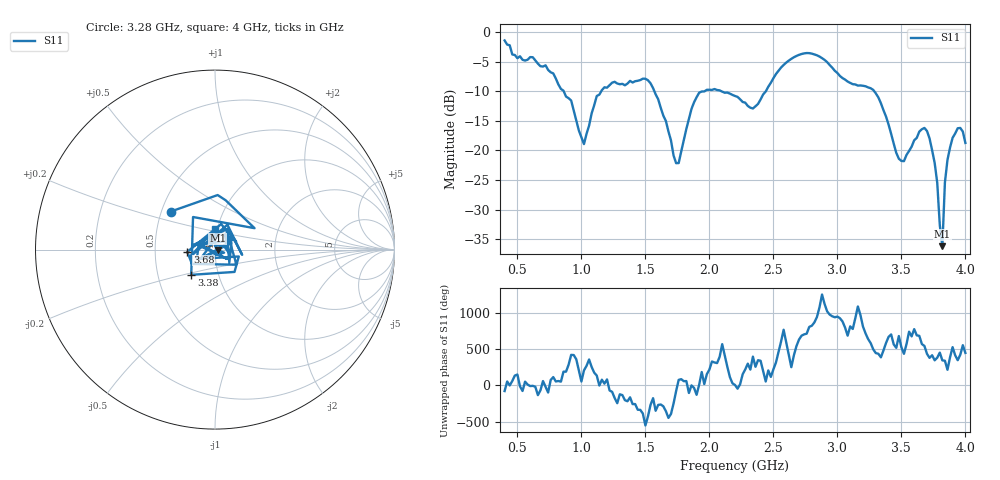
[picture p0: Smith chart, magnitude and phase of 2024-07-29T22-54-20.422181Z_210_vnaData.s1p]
!Created with skrf (http://scikit-rf.org).
# Hz S RI R 50.0
!freq ReS11 ImS11
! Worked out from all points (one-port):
!   181 points, 400 MHz to 4 GHz, reference 50 ohm
!   lowest |S11| = -36.2 dB at 3.82 GHz (marker M1), VSWR 1.03, Z = 51.5 - j0.37 ohm
!   |S11| at or under -10 dB: 1.57 GHz to 1.961 GHz (390.7 MHz wide, 22.1 % of centre); 2.095 GHz to 2.441 GHz (345.3 MHz wide, 15.2 % of centre); 3.288 GHz to end of sweep (the widest 3 of 4)
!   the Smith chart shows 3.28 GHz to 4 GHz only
!   S11 on the Smith chart (normalised r, x): 3.28 GHz: 0.56, +0.27; 3.38 GHz: 0.74, -0.22; 3.68 GHz: 0.73, -0.02; 4 GHz: 0.98, +0.23
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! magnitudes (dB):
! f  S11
! 400 MHz  -1.4
! 500 MHz  -4.4
! 720 MHz  -5.6
! 860 MHz  -9.9
! 920 MHz  -11.6
! 1.02 GHz  -18.9
! 1.12 GHz  -10.8
! 1.3 GHz  -8.8
! 1.54 GHz  -8.6
! 1.76 GHz  -22.1
! 1.86 GHz  -13.0
! 1.92 GHz  -10.2
! 2.2 GHz  -10.8
! 2.34 GHz  -12.9
! 2.66 GHz  -4.2
! 2.84 GHz  -3.9
! 3.1 GHz  -8.6
! 3.28 GHz  -9.8
! 3.38 GHz  -14.3
! 3.48 GHz  -21.4
! 3.56 GHz  -20.1
! 3.68 GHz  -16.2
! 3.76 GHz  -22.1
! 3.82 GHz  -36.2
! 3.84 GHz  -25.4
! 3.88 GHz  -19.5
! 3.94 GHz  -16.2
! 4 GHz  -18.7
